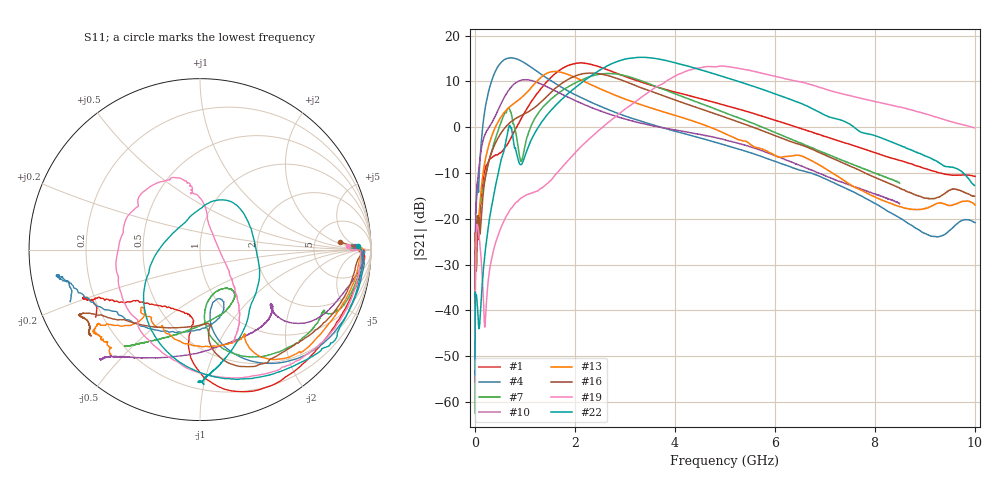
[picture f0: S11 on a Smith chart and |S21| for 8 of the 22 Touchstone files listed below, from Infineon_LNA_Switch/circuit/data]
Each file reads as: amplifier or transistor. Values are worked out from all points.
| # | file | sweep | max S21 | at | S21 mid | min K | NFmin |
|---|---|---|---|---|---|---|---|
| 1 | BGA6H1BN6_1P8_HG.S2P | 10 MHz to 10.01 GHz | 14.0 dB | 2.13 GHz | 4.7 dB at 5.01 GHz | 0.96 | 0.58 dB |
| 2 | BGA6H1BN6_2P8_HG.S2P | 10 MHz to 10.01 GHz | 14.6 dB | 2.12 GHz | 5.2 dB at 5.01 GHz | 1.02 | 0.60 dB |
| 3 | BGA6L1BN6_1P8_HG.S2P | 10 MHz to 10.01 GHz | 14.7 dB | 720 MHz | -4.2 dB at 5.01 GHz | 1.01 | 0.48 dB |
| 4 | BGA6L1BN6_2P8_HG.S2P | 10 MHz to 10.01 GHz | 15.1 dB | 720 MHz | -3.9 dB at 5.01 GHz | 1.05 | 0.49 dB |
| 5 | BGA7H1BN6_2V8_HG_2000MHz.S2P | 100 kHz to 8.5 GHz | 10.3 dB | 2.189 GHz | 4.1 dB at 4.25 GHz | 1.36 | 0.73 dB |
| 6 | BGA7H1BN6_2V8_HG_2500MHz.S2P | 100 kHz to 8.5 GHz | 10.3 dB | 2.178 GHz | 4.1 dB at 4.25 GHz | 1.36 | 0.73 dB |
| 7 | BGA7H1N6_1p8V.S2P | 100 kHz to 8.5 GHz | 11.7 dB | 2.694 GHz | 6.3 dB at 4.25 GHz | -797.84 | 0.57 dB |
| 8 | BGA7H1N6_2p8V.S2P | 100 kHz to 8.5 GHz | 11.8 dB | 2.694 GHz | 6.4 dB at 4.25 GHz | -5089.96 | 0.57 dB |
| 9 | BGA7L1N6_1p8V.s2p | 100 kHz to 8.5 GHz | 10.3 dB | 1.015 GHz | -1.1 dB at 4.25 GHz | -699.03 | 0.59 dB |
| 10 | BGA7L1N6_2p8V.s2p | 100 kHz to 8.5 GHz | 10.4 dB | 1.015 GHz | -1.1 dB at 4.25 GHz | -208.85 | 0.59 dB |
| 11 | BGA7M1N6_1p8V.S2P | 100 kHz to 8.5 GHz | 11.7 dB | 2.125 GHz | 6.1 dB at 4.25 GHz | -286.44 | 0.54 dB |
| 12 | BGA7M1N6_2p8V.S2P | 100 kHz to 8.5 GHz | 11.8 dB | 2.157 GHz | 6.2 dB at 4.25 GHz | -452.27 | 0.54 dB |
| 13 | BGA8G1BN6_1P8V_HG.S2P | 10 MHz to 10.01 GHz | 12.2 dB | 1.62 GHz | -1.4 dB at 5.01 GHz | 0.67 | 0.19 dB |
| 14 | BGA8G1BN6_2P8V_HG.S2P | 10 MHz to 10.01 GHz | 12.2 dB | 1.6 GHz | -1.4 dB at 5.01 GHz | 0.63 | 0.75 dB |
| 15 | BGA8H1BN6_1P8V_HG.S2P | 300 kHz to 10 GHz | 11.6 dB | 2.306 GHz | 2.2 dB at 5 GHz | 1.36 | 0.82 dB |
| 16 | BGA8H1BN6_2P8V_HG.S2P | 300 kHz to 10 GHz | 11.8 dB | 2.313 GHz | 2.2 dB at 5 GHz | 1.40 | 0.83 dB |
| 17 | BGA8L1BN6_1P8V_HG.S2P | 300 kHz to 10 GHz | 10.5 dB | 875.3 MHz | -5.1 dB at 5 GHz | 1.31 | 0.76 dB |
| 18 | BGA8L1BN6_2P8V_HG.S2P | 300 kHz to 10 GHz | 10.7 dB | 875.3 MHz | -5.2 dB at 5 GHz | 1.33 | 0.77 dB |
| 19 | BGA8U1BN6_1P8V_HG.S2P | 300 kHz to 10 GHz | 13.4 dB | 4.925 GHz | 13.3 dB at 5 GHz | 1.43 | 1.52 dB |
| 20 | BGA8U1BN6_2P8V_HG.S2P | 300 kHz to 10 GHz | 13.4 dB | 4.944 GHz | 13.4 dB at 5 GHz | 1.43 | 1.54 dB |
| 21 | BGA8V1BN6_1P8V_HG.S2P | 300 kHz to 10 GHz | 15.0 dB | 3.331 GHz | 10.6 dB at 5 GHz | 1.95 | 1.03 dB |
| 22 | BGA8V1BN6_2P8V_HG.S2P | 300 kHz to 10 GHz | 15.3 dB | 3.331 GHz | 10.9 dB at 5 GHz | 1.95 | 1.04 dB |

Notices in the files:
Librerias/Infineon/BGB741L7ESDE6327XTSA1/Infineon_LNA_Switch/circuit/data/BGA7H1N6_1p8V.S2P:
(c) 2014 Infineon Technologies AG
